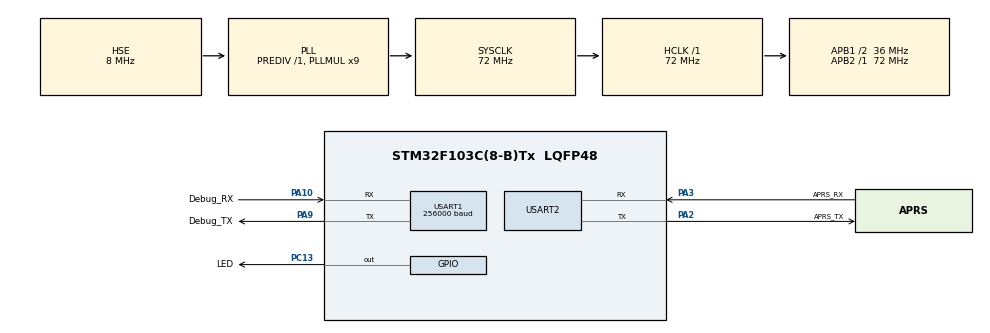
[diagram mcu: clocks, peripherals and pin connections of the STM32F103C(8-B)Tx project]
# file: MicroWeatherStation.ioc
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Mcu.Family=STM32F1
Mcu.Name=STM32F103C(8-B)Tx
Mcu.Package=LQFP48
NVIC.PriorityGroup=NVIC_PRIORITYGROUP_4
PA10.GPIO_Label=Debug_RX
PA10.Mode=Asynchronous
PA10.Signal=USART1_RX
PA13.Mode=Serial_Wire
PA13.Signal=SYS_JTMS-SWDIO
PA14.Mode=Serial_Wire
PA14.Signal=SYS_JTCK-SWCLK
PA2.GPIO_Label=APRS_TX
PA2.Mode=Asynchronous
PA2.Signal=USART2_TX
PA3.GPIO_Label=APRS_RX
PA3.Mode=Asynchronous
PA3.Signal=USART2_RX
PA9.GPIO_Label=Debug_TX
PA9.Mode=Asynchronous
PA9.Signal=USART1_TX
PC13-TAMPER-RTC.GPIO_Label=LED
PC13-TAMPER-RTC.PinState=GPIO_PIN_SET
PC13-TAMPER-RTC.Signal=GPIO_Output
PC14-OSC32_IN.Mode=LSE-External-Oscillator
PC14-OSC32_IN.Signal=RCC_OSC32_IN
PC15-OSC32_OUT.Mode=LSE-External-Oscillator
PC15-OSC32_OUT.Signal=RCC_OSC32_OUT
PD0-OSC_IN.Mode=HSE-External-Oscillator
PD0-OSC_IN.Signal=RCC_OSC_IN
PD1-OSC_OUT.Mode=HSE-External-Oscillator
PD1-OSC_OUT.Signal=RCC_OSC_OUT
ProjectManager.HeapSize=0x200
ProjectManager.StackSize=0x400
ProjectManager.TargetToolchain=MDK-ARM V5
RCC.AHBFreq_Value=72000000
RCC.APB1CLKDivider=RCC_HCLK_DIV2
RCC.APB1Freq_Value=36000000
RCC.APB1TimFreq_Value=72000000
RCC.APB2Freq_Value=72000000
RCC.APB2TimFreq_Value=72000000
RCC.HCLKFreq_Value=72000000
RCC.PLLMUL=RCC_PLL_MUL9
RCC.PLLSourceVirtual=RCC_PLLSOURCE_HSE
RCC.SYSCLKFreq_VALUE=72000000
RCC.SYSCLKSource=RCC_SYSCLKSOURCE_PLLCLK
RCC.USBFreq_Value=48000000
RCC.USBPrescaler=RCC_USBCLKSOURCE_PLL_DIV1_5
TIM1.Period=100
TIM1.Prescaler=7200
USART1.BaudRate=256000
USART1.VirtualMode=VM_ASYNC
USART2.VirtualMode=VM_ASYNC
VP_TIM1_VS_ClockSourceINT.Mode=Internal
board=custom

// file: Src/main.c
/* USER CODE BEGIN Header */
/**
  ******************************************************************************
  * @file           : main.c
  * @brief          : Main program body
  ******************************************************************************
  * @attention
  *
  * <h2><center>&copy; Copyright (c) 2019 STMicroelectronics.
  * All rights reserved.</center></h2>
  *
  * This software component is licensed by ST under BSD 3-Clause license,
  * the "License"; You may not use this file except in compliance with the
  * License. You may obtain a copy of the License at:
  *                        opensource.org/licenses/BSD-3-Clause
  *
  ******************************************************************************
  */
/* USER CODE END Header */

#include "main.h"
#include "tim.h"
#include "usart.h"
#include "gpio.h"

/* USER CODE BEGIN Includes */
#include "Printf_in_UART.h"
#include "aprs.h"
/* USER CODE END Includes */

void SystemClock_Config(void);

int main(void)
{

  /* MCU Configuration--------------------------------------------------------*/

  /* Reset of all peripherals, Initializes the Flash interface and the Systick. */
  HAL_Init();

  /* Configure the system clock */
  SystemClock_Config();

  /* Initialize all configured peripherals */
  MX_GPIO_Init();
  MX_USART2_UART_Init();
  MX_USART1_UART_Init();
  MX_TIM1_Init();
  /* USER CODE BEGIN 2 */
	Weather_DATA_Def Weather;
  /* USER CODE END 2 */

  /* Infinite loop */
  while (1)
  {

    /* USER CODE BEGIN 3 */
	  Weather_Get(&Weather);

	  printf("\r风向AD值：%d\n", Weather.wind_direction_AD);
	  printf("风向角度：%d\n", Weather.wind_direction_angle);
	  printf("风速频率：%.1f Hz\n", Weather.wind_frequency);
	  printf("风速：%.1f m/s\n", Weather.wind_speed_RT);
	  printf("前1分钟平均风速：%.1f m/s\n", Weather.wind_speed_1min_ave);
	  printf("前5分钟最高风速：%.1f m/s\n", Weather.wind_speed_5min_max);
	  printf("累计雨量斗数：%d\n", Weather.rainfall_RT_count);
	  printf("前1分钟雨量斗数：%d\n", Weather.rainfall_1min_count);
	  printf("前1分钟雨量：%.1f mm\n", Weather.rainfall_1min);
	  printf("前1小时雨量：%.1f mm\n", Weather.rainfall_1hour);
	  printf("前24小时雨量：%.1f mm\n", Weather.rainfall_24hours);
	  printf("温度：%.1f 度\n", Weather.temperature);
	  printf("湿度：%.1f %%\n", Weather.humidity);
	  printf("气压: %.3f kPa\n", Weather.AtmosphericPressure/10);

	  HAL_Delay(1000);
  }
  /* USER CODE END 3 */
}

void SystemClock_Config(void)
{
  RCC_OscInitTypeDef RCC_OscInitStruct = {0};
  RCC_ClkInitTypeDef RCC_ClkInitStruct = {0};

  /** Initializes the CPU, AHB and APB busses clocks
  */
  RCC_OscInitStruct.OscillatorType = RCC_OSCILLATORTYPE_HSE;
  RCC_OscInitStruct.HSEState = RCC_HSE_ON;
  RCC_OscInitStruct.HSEPredivValue = RCC_HSE_PREDIV_DIV1;
  RCC_OscInitStruct.HSIState = RCC_HSI_ON;
  RCC_OscInitStruct.PLL.PLLState = RCC_PLL_ON;
  RCC_OscInitStruct.PLL.PLLSource = RCC_PLLSOURCE_HSE;
  RCC_OscInitStruct.PLL.PLLMUL = RCC_PLL_MUL9;
  if (HAL_RCC_OscConfig(&RCC_OscInitStruct) != HAL_OK)
  {
    Error_Handler();
  }
  /** Initializes the CPU, AHB and APB busses clocks
  */
  RCC_ClkInitStruct.ClockType = RCC_CLOCKTYPE_HCLK|RCC_CLOCKTYPE_SYSCLK
                              |RCC_CLOCKTYPE_PCLK1|RCC_CLOCKTYPE_PCLK2;
  RCC_ClkInitStruct.SYSCLKSource = RCC_SYSCLKSOURCE_PLLCLK;
  RCC_ClkInitStruct.AHBCLKDivider = RCC_SYSCLK_DIV1;
  RCC_ClkInitStruct.APB1CLKDivider = RCC_HCLK_DIV2;
  RCC_ClkInitStruct.APB2CLKDivider = RCC_HCLK_DIV1;

  if (HAL_RCC_ClockConfig(&RCC_ClkInitStruct, FLASH_LATENCY_2) != HAL_OK)
  {
    Error_Handler();
  }
}

void Error_Handler(void)
{
}

/************************ (C) COPYRIGHT STMicroelectronics *****END OF FILE****/
